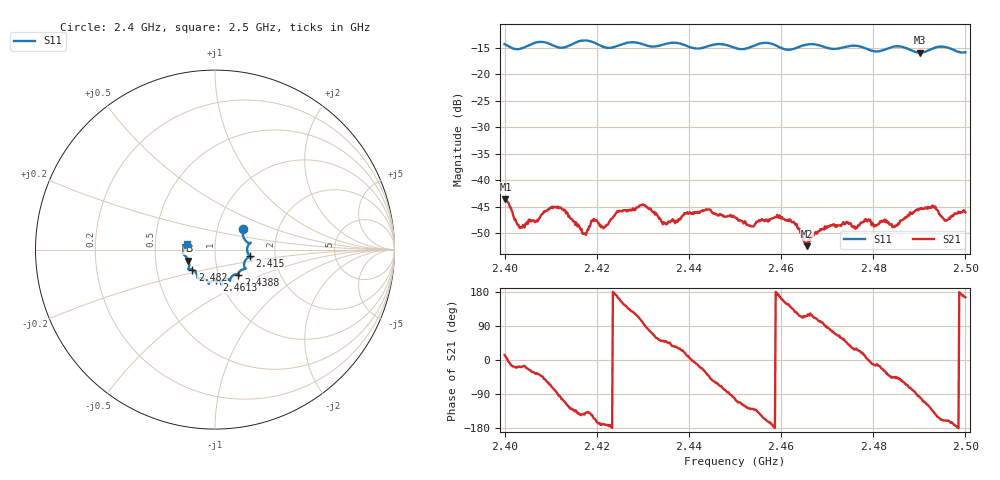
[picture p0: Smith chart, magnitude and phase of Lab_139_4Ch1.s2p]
# Hz S RI R 50
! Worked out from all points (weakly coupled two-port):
!   601 points, 2.4 GHz to 2.5 GHz, reference 50 ohm
!   highest |S21| = -43.63 dB at 2.4002 GHz (marker M1); lowest = -52.5 dB at 2.4657 GHz (marker M2)
!   lowest |S11| = -15.9 dB at 2.4902 GHz (marker M3), VSWR 1.38, Z = 36.8 - j4.64 ohm
!   |S11| at or under -10 dB: start of sweep to end of sweep
!   S12 and S22 are empty: the file has one direction only
!   S11 on the Smith chart (normalised r, x): 2.4 GHz: 1.33, +0.31; 2.415 GHz: 1.47, -0.11; 2.4388 GHz: 1.24, -0.36; 2.4613 GHz: 0.96, -0.34; 2.482 GHz: 0.76, -0.17; 2.5 GHz: 0.72, +0.05
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2.4e9  0.1573 0.1125  0.00641 0.0015  0 0  0 0
2.400167e9  0.1566 0.1104  0.00648 0.00117  0 0  0 0
2.403333e9  0.1645 0.0579  0.00335 -0.00106  0 0  0 0
2.4105e9  0.1863 0.0266  0.0014 -0.00523  0 0  0 0
2.415e9  0.1928 -0.0362  -0.00272 -0.00304  0 0  0 0
2.416667e9  0.2039 -0.044  -0.00282 -0.00202  0 0  0 0
2.429667e9  0.1626 -0.1079  -0.00138 0.00566  0 0  0 0
2.433333e9  0.1317 -0.1317  0.0026 0.0037  0 0  0 0
2.434833e9  0.1304 -0.1433  0.00257 0.00301  0 0  0 0
2.438833e9  0.1296 -0.1406  0.00431 0.00176  0 0  0 0
2.45e9  0.0687 -0.1648  -0.000966 -0.00434  0 0  0 0
2.4535e9  0.0362 -0.1787  -0.00232 -0.00282  0 0  0 0
2.461333e9  0.00809 -0.1713  -0.0035 0.00231  0 0  0 0
2.465667e9  -0.0345 -0.1887  -0.00106 0.00212  0 0  0 0
2.466667e9  -0.0348 -0.1902  -0.0014 0.00256  0 0  0 0
2.471e9  -0.0538 -0.1664  0.000844 0.00362  0 0  0 0
2.482e9  -0.1259 -0.1119  0.0037 -0.00163  0 0  0 0
2.483333e9  -0.1398 -0.1088  0.00303 -0.0026  0 0  0 0
2.490167e9  -0.1485 -0.0613  -0.000847 -0.0053  0 0  0 0
2.493333e9  -0.1772 -0.0246  -0.00424 -0.00346  0 0  0 0
2.495833e9  -0.1803 -0.0174  -0.00389 -0.0014  0 0  0 0
2.5e9  -0.1587 0.0327  -0.00478 0.00125  0 0  0 0
